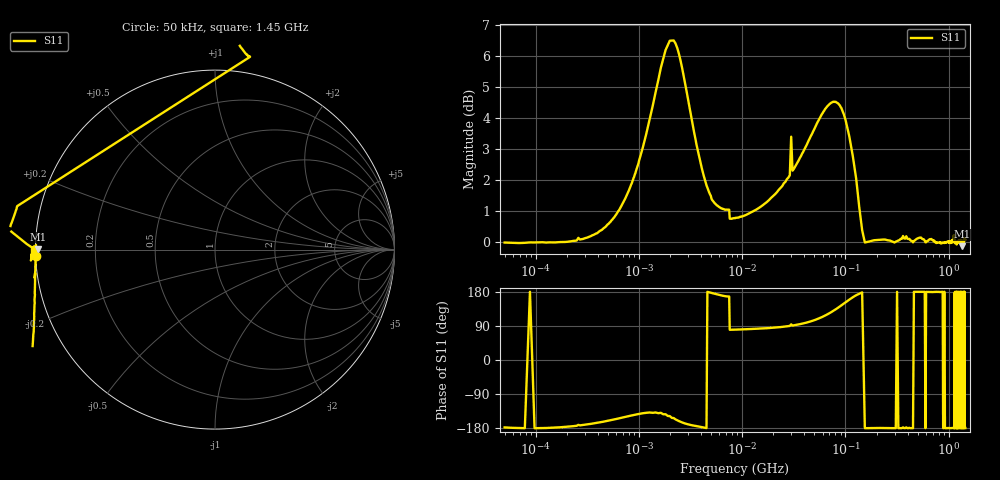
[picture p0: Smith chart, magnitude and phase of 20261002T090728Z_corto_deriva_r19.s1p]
! piloto_deriva / corto_deriva / r19
# HZ S RI R 50
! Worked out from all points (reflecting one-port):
!   501 points, 50 kHz to 1.45 GHz, reference 50 ohm
!   lowest |S11| = -0.1 dB at 1.347 GHz (marker M1), VSWR 143.94, Z = 0.347 + j0.0924 ohm
!   phase of S11 starts at -178 deg and turns -2 deg over the sweep
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50000  -0.9988 -0.0369
183000  -0.9999 -0.0524
373000  -1.004 -0.2337
658000  -1.014 -0.5108
1180000  -1.134 -0.976
1630000  -1.45 -1.241
1990000  -1.789 -1.117
2440000  -1.901 -0.6482
3070000  -1.633 -0.2707
4330000  -1.264 -0.03
7300000  -1.103 0.2422
7750000  0.1945 1.075
8560000  0.188 1.078
1.9e7  0.1087 1.174
3.16e7  -0.0347 1.311
4.6e7  -0.303 1.449
5.77e7  -0.5946 1.48
6.76e7  -0.8609 1.418
7.93e7  -1.138 1.238
9.37e7  -1.355 0.8989
9.82e7  -1.385 0.7833
1e8  -1.391 0.7386
1.18e8  -1.331 0.3387
1.36e8  -1.135 0.1003
1.63e8  -1.002 -0.00384
4.06e8  -1.013 -0.00193
1.3465e9  -0.9862 0.00364
1.45e9  -1.01 -0.00514
